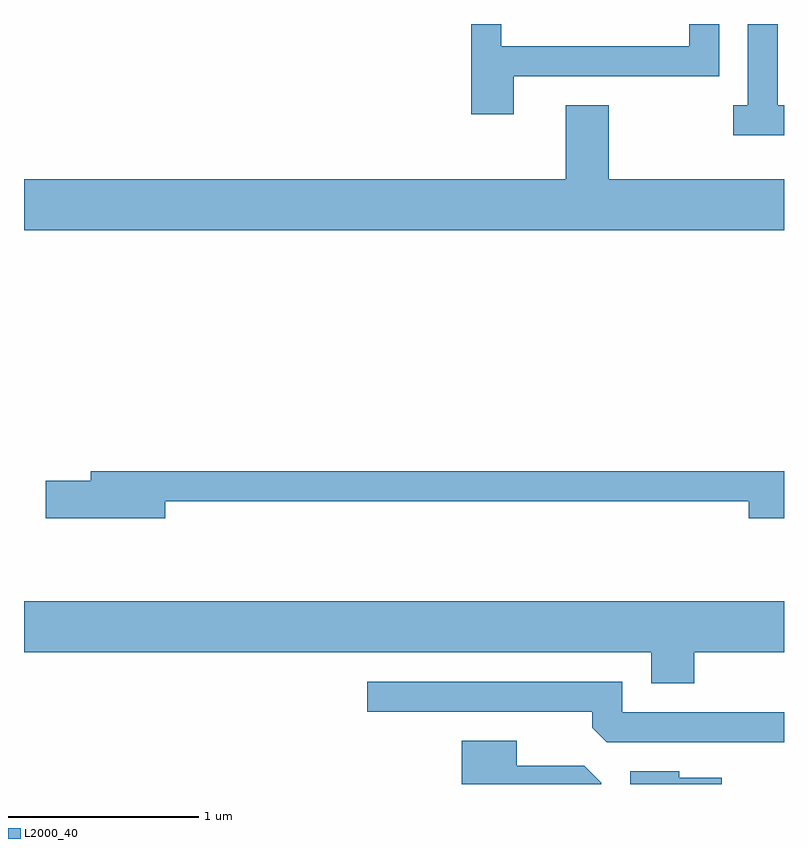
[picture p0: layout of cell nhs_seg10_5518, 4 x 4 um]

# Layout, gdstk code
import gdstk
lib = gdstk.Library(unit=1e-6, precision=1e-09)
def P(c, l, *ps):  # polygons
    for p in ps: c.add(gdstk.Polygon(p, *l))
L2000_40 = (2000, 40)

nhs_seg10_5518 = lib.new_cell('nhs_seg10_5518')
P(nhs_seg10_5518, L2000_40, [(351.611,2150.094),(351.579,2150.094),(351.579,2150.522),(351.421,2150.522),(351.421,2150.094),(351.343,2150.094),(351.343,2149.936),(351.611,2149.936)],
  [(350.189,2150.246),(351.269,2150.246),(351.269,2150.522),(351.111,2150.522),(351.111,2150.404),(350.124,2150.404),(350.124,2150.522),(349.966,2150.522),(349.966,2150.046),(350.189,2150.046)],
  [(351.611,2149.704),(350.689,2149.704),(350.689,2150.094),(350.461,2150.094),(350.461,2149.704),(347.611,2149.704),(347.611,2149.436),(351.611,2149.436)],
  [(348.354,2148.011),(351.426,2148.011),(351.426,2147.921),(351.611,2147.921),(351.611,2148.169),(347.961,2148.169),(347.961,2148.119),(347.726,2148.119),(347.726,2147.921),(348.354,2147.921)],
  [(351.139,2147.216),(351.611,2147.216),(351.611,2147.484),(347.611,2147.484),(347.611,2147.216),(350.911,2147.216),(350.911,2147.051),(351.139,2147.051)],
  [(351.611,2146.899),(350.759,2146.899),(350.759,2147.059),(349.418,2147.059),(349.418,2146.901),(350.601,2146.901),(350.601,2146.817),(350.677,2146.741),(351.611,2146.741)],
  [(350.649,2146.529),(350.559,2146.619),(350.204,2146.619),(350.204,2146.749),(349.916,2146.749),(349.916,2146.522),(350.649,2146.522)],
  [(351.284,2146.554),(351.059,2146.554),(351.059,2146.589),(350.801,2146.589),(350.801,2146.522),(351.284,2146.522)])

lib.write_gds('nhs_seg10_5518.gds')
